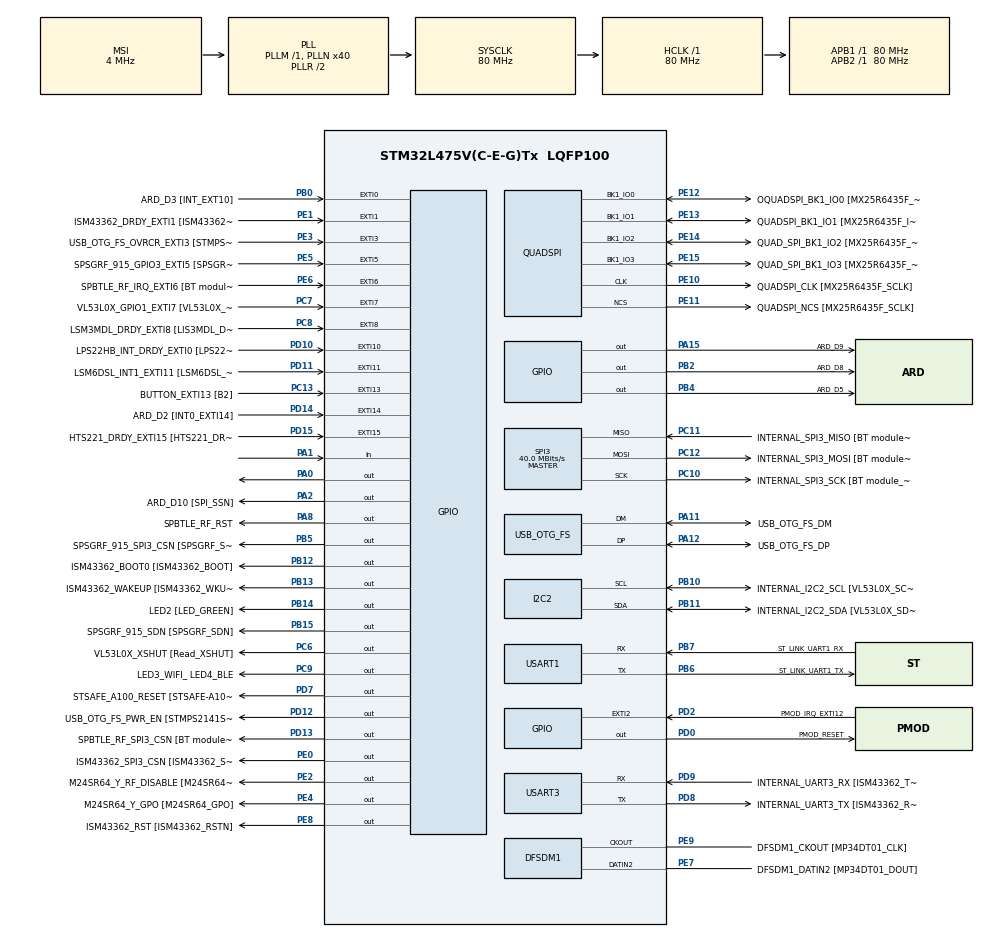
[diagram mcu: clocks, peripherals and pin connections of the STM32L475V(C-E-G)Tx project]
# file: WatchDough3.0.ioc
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Mcu.Family=STM32L4
Mcu.Name=STM32L475V(C-E-G)Tx
Mcu.Package=LQFP100
NVIC.EXTI15_10_IRQn=true\:0\:0\:false\:false\:true\:true\:true
NVIC.EXTI9_5_IRQn=true\:0\:0\:false\:false\:true\:true\:true
NVIC.PriorityGroup=NVIC_PRIORITYGROUP_4
PA0.Signal=GPIO_Output
PA1.Signal=GPIO_Input
PA10.GPIO_Label=USB_OTG_FS_ID
PA10.Signal=USB_OTG_FS_ID
PA11.GPIO_Label=USB_OTG_FS_DM
PA11.Mode=Device_Only
PA11.Signal=USB_OTG_FS_DM
PA12.GPIO_Label=USB_OTG_FS_DP
PA12.Mode=Device_Only
PA12.Signal=USB_OTG_FS_DP
PA13\ (JTMS-SWDIO).GPIO_Label=SYS_JTMS_SWDIO
PA13\ (JTMS-SWDIO).Mode=Serial_Wire
PA13\ (JTMS-SWDIO).Signal=SYS_JTMS-SWDIO
PA14\ (JTCK-SWCLK).GPIO_Label=SYS_JTCK_SWCLK
PA14\ (JTCK-SWCLK).Mode=Serial_Wire
PA14\ (JTCK-SWCLK).Signal=SYS_JTCK-SWCLK
PA15\ (JTDI).GPIO_Label=ARD_D9
PA15\ (JTDI).Signal=GPIO_Output
PA2.GPIO_Label=ARD_D10 [SPI_SSN]
PA2.Signal=GPIO_Output
PA3.GPIO_Label=ARD_D4
PA3.Signal=S_TIM2_CH4
PA4.GPIO_Label=ARD_D7
PA4.Signal=ADCx_IN9
PA5.GPIO_Label=ARD_D13 [SPI1_SCK]
PA5.Signal=SPI1_SCK
PA6.GPIO_Label=ARD_D12 [SPI1_MISO]
PA6.Signal=SPI1_MISO
PA7.GPIO_Label=ARD_D11 [SPI1_MOSI]
PA7.Signal=SPI1_MOSI
PA8.GPIO_Label=SPBTLE_RF_RST
PA8.Signal=GPIO_Output
PA9.GPIO_Label=USB_OTG_FS_VBUS [STMPS2141STR_OUT]
PA9.Signal=USB_OTG_FS_VBUS
PB0.GPIO_Label=ARD_D3 [INT_EXT10]
PB0.Signal=GPXTI0
PB1.GPIO_Label=ARD_D6 [ADC1_IN6]
PB1.Signal=ADCx_IN16
PB10.GPIO_Label=INTERNAL_I2C2_SCL [VL53L0X_SCL]
PB10.Mode=I2C
PB10.Signal=I2C2_SCL
PB11.GPIO_Label=INTERNAL_I2C2_SDA [VL53L0X_SDA]
PB11.Mode=I2C
PB11.Signal=I2C2_SDA
PB12.GPIO_Label=ISM43362_BOOT0 [ISM43362_BOOT]
PB12.Signal=GPIO_Output
PB13.GPIO_Label=ISM43362_WAKEUP [ISM43362_WKUP]
PB13.Signal=GPIO_Output
PB14.GPIO_Label=LED2 [LED_GREEN]
PB14.Signal=GPIO_Output
PB15.GPIO_Label=SPSGRF_915_SDN [SPSGRF_SDN]
PB15.Signal=GPIO_Output
PB2.GPIO_Label=ARD_D8
PB2.Signal=GPIO_Output
PB3\ (JTDO-TRACESWO).GPIO_Label=SYS_JTD0_SWO
PB3\ (JTDO-TRACESWO).Signal=SYS_JTDO-SWO
PB4\ (NJTRST).GPIO_Label=ARD_D5
PB4\ (NJTRST).Signal=GPIO_Output
PB5.GPIO_Label=SPSGRF_915_SPI3_CSN [SPSGRF_SPI_CS]
PB5.PinState=GPIO_PIN_SET
PB5.Signal=GPIO_Output
PB6.GPIO_Label=ST_LINK_UART1_TX
PB6.Mode=Asynchronous
PB6.Signal=USART1_TX
PB7.GPIO_Label=ST_LINK_UART1_RX
PB7.Mode=Asynchronous
PB7.Signal=USART1_RX
PB8.GPIO_Label=ARD_D15 [I2C1_SCL]
PB8.Signal=I2C1_SCL
PB9.GPIO_Label=ARD_D14 [I2C1_SDA]
PB9.Signal=I2C1_SDA
PC0.GPIO_Label=ARD_A5 [ADC]
PC0.Signal=ADCx_IN1
PC1.GPIO_Label=ARD_A4 [ADC]
PC1.Signal=ADCx_IN2
PC10.GPIO_Label=INTERNAL_SPI3_SCK [BT module_SPI_SCLK] [ISM43362_SCK]
PC10.Mode=Full_Duplex_Master
PC10.Signal=SPI3_SCK
PC11.GPIO_Label=INTERNAL_SPI3_MISO [BT module_SPI_MISO] [ISM43362_MISO]
PC11.Mode=Full_Duplex_Master
PC11.Signal=SPI3_MISO
PC12.GPIO_Label=INTERNAL_SPI3_MOSI [BT module_SPI_MOSI] [ISM43362_MOSI]
PC12.Mode=Full_Duplex_Master
PC12.Signal=SPI3_MOSI
PC13.GPIO_Label=BUTTON_EXTI13 [B2]
PC13.GPIO_ModeDefaultEXTI=GPIO_MODE_IT_FALLING
PC13.Signal=GPXTI13
PC14-OSC32_IN\ (PC14).Mode=LSE-External-Oscillator
PC14-OSC32_IN\ (PC14).Signal=RCC_OSC32_IN
PC15-OSC32_OUT\ (PC15).Mode=LSE-External-Oscillator
PC15-OSC32_OUT\ (PC15).Signal=RCC_OSC32_OUT
PC2.GPIO_Label=ARD_A3 [ADC]
PC2.Signal=ADCx_IN3
PC3.GPIO_Label=ARD_A2 [ADC]
PC3.Signal=ADCx_IN4
PC4.GPIO_Label=ARD_A1 [ADC]
PC4.Signal=ADCx_IN13
PC5.GPIO_Label=ARD_A0 [ADC]
PC5.Signal=ADCx_IN14
PC6.GPIO_Label=VL53L0X_XSHUT [Read_XSHUT]
PC6.Signal=GPIO_Output
PC7.GPIO_Label=VL53L0X_GPIO1_EXTI7 [VL53L0X_GPIO1]
PC7.Signal=GPXTI7
PC8.GPIO_Label=LSM3MDL_DRDY_EXTI8 [LIS3MDL_DRDY]
PC8.Signal=GPXTI8
PC9.GPIO_Label=LED3_WIFI_ LED4_BLE
PC9.Signal=GPIO_Output
PD0.GPIO_Label=PMOD_RESET
PD0.Signal=GPIO_Output
PD1.GPIO_Label=PMOD_SPI2_SCK
PD1.Signal=SPI2_SCK
PD10.GPIO_Label=LPS22HB_INT_DRDY_EXTI0 [LPS22HB_INT_DRDY] 
PD10.Signal=GPXTI10
PD11.GPIO_Label=LSM6DSL_INT1_EXTI11 [LSM6DSL_INT1]
PD11.Signal=GPXTI11
PD12.GPIO_Label=USB_OTG_FS_PWR_EN [STMPS2141STR_EN]
PD12.Signal=GPIO_Output
PD13.GPIO_Label=SPBTLE_RF_SPI3_CSN [BT module_SPI_CS]
PD13.PinState=GPIO_PIN_SET
PD13.Signal=GPIO_Output
PD14.GPIO_Label=ARD_D2 [INT0_EXTI14]
PD14.Signal=GPXTI14
PD15.GPIO_Label=HTS221_DRDY_EXTI15 [HTS221_DRDY]
PD15.Signal=GPXTI15
PD2.GPIO_Label=PMOD_IRQ_EXTI12
PD2.Signal=GPXTI2
PD3.GPIO_Label=PMOD_UART2_CTS
PD3.Signal=USART2_CTS
PD4.GPIO_Label=PMOD_UART2_RTS
PD4.Signal=USART2_RTS
PD5.GPIO_Label=PMOD_UART2_TX
PD5.Signal=USART2_TX
PD6.GPIO_Label=PMOD_UART2_RX
PD6.Signal=USART2_RX
PD7.GPIO_Label=STSAFE_A100_RESET [STSAFE-A100_RESET]
PD7.Signal=GPIO_Output
PD8.GPIO_Label=INTERNAL_UART3_TX [ISM43362_RX]
PD8.Mode=Asynchronous
PD8.Signal=USART3_TX
PD9.GPIO_Label=INTERNAL_UART3_RX [ISM43362_TX]
PD9.Mode=Asynchronous
PD9.Signal=USART3_RX
PE0.GPIO_Label=ISM43362_SPI3_CSN [ISM43362_SSN]
PE0.PinState=GPIO_PIN_SET
PE0.Signal=GPIO_Output
PE1.GPIO_Label=ISM43362_DRDY_EXTI1 [ISM43362_DATARDY]
PE1.Signal=GPXTI1
PE10.GPIO_Label=QUADSPI_CLK [MX25R6435F_SCLK]
PE10.Mode=Single Bank
PE10.Signal=QUADSPI_CLK
PE11.GPIO_Label=QUADSPI_NCS [MX25R6435F_SCLK]
PE11.Mode=Single Bank
PE11.Signal=QUADSPI_NCS
PE12.GPIO_Label=OQUADSPI_BK1_IO0 [MX25R6435F_IO0]
PE12.Mode=Single Bank
PE12.Signal=QUADSPI_BK1_IO0
PE13.GPIO_Label=QUADSPI_BK1_IO1 [MX25R6435F_IO1]
PE13.Mode=Single Bank
PE13.Signal=QUADSPI_BK1_IO1
PE14.GPIO_Label=QUAD_SPI_BK1_IO2 [MX25R6435F_IO2]
PE14.Mode=Single Bank
PE14.Signal=QUADSPI_BK1_IO2
PE15.GPIO_Label=QUAD_SPI_BK1_IO3 [MX25R6435F_IO3]
PE15.Mode=Single Bank
PE15.Signal=QUADSPI_BK1_IO3
PE2.GPIO_Label=M24SR64_Y_RF_DISABLE [M24SR64_RFDIS]
PE2.Signal=GPIO_Output
PE3.GPIO_Label=USB_OTG_FS_OVRCR_EXTI3 [STMPS2141STR_FAULT]
PE3.Signal=GPXTI3
PE4.GPIO_Label=M24SR64_Y_GPO [M24SR64_GPO]
PE4.Signal=GPIO_Output
PE5.GPIO_Label=SPSGRF_915_GPIO3_EXTI5 [SPSGRF_GPIO_3]
PE5.Signal=GPXTI5
PE6.GPIO_Label=SPBTLE_RF_IRQ_EXTI6 [BT module_SPI_IRQ]
PE6.Signal=GPXTI6
PE7.GPIO_Label=DFSDM1_DATIN2 [MP34DT01_DOUT]
PE7.Signal=S_DATAIN2DFSDM1
PE8.GPIO_Label=ISM43362_RST [ISM43362_RSTN]
PE8.Signal=GPIO_Output
PE9.GPIO_Label=DFSDM1_CKOUT [MP34DT01_CLK]
PE9.Signal=S_CKOUTDFSDM1
ProjectManager.HeapSize=0x200
ProjectManager.StackSize=0x400
ProjectManager.TargetToolchain=STM32CubeIDE
RCC.ADCFreq_Value=48000000
RCC.AHBFreq_Value=80000000
RCC.APB1Freq_Value=80000000
RCC.APB1TimFreq_Value=80000000
RCC.APB2Freq_Value=80000000
RCC.APB2TimFreq_Value=80000000
RCC.CortexFreq_Value=80000000
RCC.HCLKFreq_Value=80000000
RCC.HSE_VALUE=8000000
RCC.HSI_VALUE=16000000
RCC.MSI_VALUE=4000000
RCC.PLLN=40
RCC.PLLSAI1N=24
RCC.SYSCLKFreq_VALUE=80000000
RCC.SYSCLKSource=RCC_SYSCLKSOURCE_PLLCLK
RCC.USBFreq_Value=48000000
RCC.VCOOutputFreq_Value=160000000
SH.ADCx_IN1.0=ADC1_IN1
SH.ADCx_IN13.0=ADC1_IN13
SH.ADCx_IN14.0=ADC1_IN14
SH.ADCx_IN16.0=ADC1_IN16
SH.ADCx_IN2.0=ADC1_IN2
SH.ADCx_IN3.0=ADC1_IN3
SH.ADCx_IN4.0=ADC1_IN4
SH.ADCx_IN9.0=ADC1_IN9
SH.S_CKOUTDFSDM1.0=DFSDM1_CKOUT,CKOUT
SH.S_CKOUTDFSDM1.1=DFSDM1_CKOUT,PDM_SPI_Input_from_ch12_and_Internal_Clock
SH.S_DATAIN2DFSDM1.0=DFSDM1_DATIN2,PDM_SPI_Input_from_ch12_and_Internal_Clock
SH.S_TIM2_CH4.0=TIM2_CH4
SPI3.CalculateBaudRate=40.0 MBits/s
SPI3.Direction=SPI_DIRECTION_2LINES
SPI3.Mode=SPI_MODE_MASTER
SPI3.VirtualType=VM_MASTER
USART1.VirtualMode-Asynchronous=VM_ASYNC
USART3.VirtualMode-Asynchronous=VM_ASYNC
USB_OTG_FS.VirtualMode=Device_Only
board=B-L475E-IOT01A1

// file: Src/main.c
/* USER CODE BEGIN Header */
/**
  ******************************************************************************
  * @file           : main.c
  * @brief          : Main program body
  ******************************************************************************
  * @attention
  *
  * <h2><center>&copy; Copyright (c) 2020 STMicroelectronics.
  * All rights reserved.</center></h2>
  *
  * This software component is licensed by ST under BSD 3-Clause license,
  * the "License"; You may not use this file except in compliance with the
  * License. You may obtain a copy of the License at:
  *                        opensource.org/licenses/BSD-3-Clause
  *
  ******************************************************************************
  */
/* USER CODE END Header */

#include "main.h"

/* USER CODE BEGIN PD */
#define SSID     					"EOLO - FRITZ!Box 7530 MA"
#define PASSWORD 					"22818903747732893967"
#define WIFI_WRITE_TIMEOUT 			10000
#define WIFI_READ_TIMEOUT  			10000
#define CONNECTION_TRIAL_MAX        10
#define SERIAL_MSG_MAXSIZE			240
#define WIFI_RX_MAXSIZE				140
#define WIFI_TX_MAXSIZE				140
#define MQTT_PAYLOAD_SIZE			30
/* USER CODE END PD */

DFSDM_Channel_HandleTypeDef hdfsdm1_channel1;

I2C_HandleTypeDef hi2c2;

QSPI_HandleTypeDef hqspi;

SPI_HandleTypeDef hspi3;

UART_HandleTypeDef huart1;
UART_HandleTypeDef huart3;

PCD_HandleTypeDef hpcd_USB_OTG_FS;

/* USER CODE BEGIN PV */
uint8_t msgseriale[SERIAL_MSG_MAXSIZE];
uint8_t WiFiRxData[WIFI_RX_MAXSIZE];
uint8_t WiFiTxData[WIFI_TX_MAXSIZE];

extern  SPI_HandleTypeDef hspi;
/* USER CODE END PV */

void SystemClock_Config(void);
static void MX_GPIO_Init(void);
static void MX_DFSDM1_Init(void);
static void MX_I2C2_Init(void);
static void MX_QUADSPI_Init(void);
static void MX_SPI3_Init(void);
static void MX_USART1_UART_Init(void);
static void MX_USART3_UART_Init(void);
static void MX_USB_OTG_FS_PCD_Init(void);

/* USER CODE BEGIN 0 */
void messageArrived(MessageData* data)
{
	/*snprintf((char*)msgseriale,SERIAL_MSG_MAXSIZE, \
			"Message arrived on topic %.*s: %.*s\r\n", data->topicName->lenstring.len, data->topicName->lenstring.data, \
			data->message->payloadlen, (char *) data->message->payload);
	HAL_UART_Transmit(&huart1,msgseriale,strlen((char*)msgseriale),1000);*/
	snprintf((char*)msgseriale,SERIAL_MSG_MAXSIZE, \
				"Message arrived on topic %s: \"%s\"\r\n", data->topicName->lenstring.data, \
				(char *) data->message->payload);
		HAL_UART_Transmit(&huart1,msgseriale,strlen((char*)msgseriale),1000);
}

/* USER CODE END 0 */

int main(void)
{

  /* MCU Configuration--------------------------------------------------------*/

  /* Reset of all peripherals, Initializes the Flash interface and the Systick. */
  HAL_Init();

  /* USER CODE BEGIN Init */
	//BSP_LED_Init(LED2);
	//BSP_LED_Off(LED2);
  /* USER CODE END Init */

  /* Configure the system clock */
  SystemClock_Config();

  /* Initialize all configured peripherals */
  MX_GPIO_Init();
  MX_DFSDM1_Init();
  MX_I2C2_Init();
  MX_QUADSPI_Init();
  MX_SPI3_Init();
  MX_USART1_UART_Init();
  MX_USART3_UART_Init();
  MX_USB_OTG_FS_PCD_Init();
  /* USER CODE BEGIN 2 */

	// Variabili
	uint8_t  MAC_Addr[6];
	//uint8_t localmosquittoip[] = {192,168,0,6};
	const char myaddress[] = "test.mosquitto.org";
	uint16_t myport = 1883; //prima era 1883
	//uint16_t myportlocalmosquitto = 18830;
	const char pubtopic[] = "watchdough/temp";
	const char pubtopic2[] = "watchdough/hum";
	const char subtopic[] = "watchdough/#";
	char payload[MQTT_PAYLOAD_SIZE];

	uint16_t nmsg = 0;
	int rc = 0;
	uint8_t connTrials = 10;

	snprintf((char*)msgseriale,SERIAL_MSG_MAXSIZE,"\r\n> Inizio Programma\r\n");
	HAL_UART_Transmit(&huart1,msgseriale,strlen((char*)msgseriale),1000);

	Network network;
	NetworkInit(&network);

	//Network and MQTT Initialization
	if(WIFI_Init() ==  WIFI_STATUS_OK)
		{
			snprintf((char*)msgseriale,SERIAL_MSG_MAXSIZE,"> WIFI Module Initialized.\r\n");
			HAL_UART_Transmit(&huart1,msgseriale,strlen((char*)msgseriale),1000);
			if(WIFI_GetMAC_Address(MAC_Addr) == WIFI_STATUS_OK)
			{
				snprintf((char*)msgseriale,SERIAL_MSG_MAXSIZE,"> es-wifi module MAC Address : %X:%X:%X:%X:%X:%X\r\r\n",
				MAC_Addr[0],MAC_Addr[1],MAC_Addr[2],MAC_Addr[3],MAC_Addr[4],MAC_Addr[5]);
				HAL_UART_Transmit(&huart1,msgseriale,strlen((char*)msgseriale),1000);
			}
			else
			{
				snprintf((char*)msgseriale,SERIAL_MSG_MAXSIZE,"> ERROR : CANNOT get MAC address\r\r\n");
				HAL_UART_Transmit(&huart1,msgseriale,strlen((char*)msgseriale),1000);
			}
		}
		else
		{
			snprintf((char*)msgseriale,SERIAL_MSG_MAXSIZE,"> ERROR : WIFI Module cannot be initialized.\r\n");
			HAL_UART_Transmit(&huart1,msgseriale,strlen((char*)msgseriale),1000);
		}

		WIFI_Status_t retwifi = ClientJoinWiFiNetwork(SSID, PASSWORD);
		if(retwifi!=WIFI_STATUS_OK)
		{
			snprintf((char*)msgseriale,SERIAL_MSG_MAXSIZE,"> retwifi=%x.\r\n",retwifi);
			HAL_UART_Transmit(&huart1,msgseriale,strlen((char*)msgseriale),1000);
		}
		else
		{
			snprintf((char*)msgseriale,SERIAL_MSG_MAXSIZE,"> WIFI Module Initialized.\r\n");
			HAL_UART_Transmit(&huart1,msgseriale,strlen((char*)msgseriale),1000);
		}

		while (connTrials--)
		{
			WIFI_Status_t retcon = ClientConnectNViaDNS(&network, myaddress, myport);
			//WIFI_Status_t retcon = ClientConnectToIP(&network, localmosquittoip, myportlocalmosquitto);
			if(retcon!=WIFI_STATUS_OK)
			{
				snprintf((char*)msgseriale,SERIAL_MSG_MAXSIZE,"> retcon=%x.\r\n",retcon);
				HAL_UART_Transmit(&huart1,msgseriale,strlen((char*)msgseriale),1000);
			}
			else
			{
				snprintf((char*)msgseriale,SERIAL_MSG_MAXSIZE,"> Connected to broker TCP port\r\n");
				HAL_UART_Transmit(&huart1,msgseriale,strlen((char*)msgseriale),1000);
				break;
			}
			HAL_Delay(2000);
		}

		MQTTClient client;
		MQTTClientInit(&client, &network, WIFI_WRITE_TIMEOUT, WiFiTxData, WIFI_TX_MAXSIZE, WiFiRxData, WIFI_TX_MAXSIZE);

		MQTTConnackData connackdata;
		MQTTSubackData subData;

		MQTTPacket_connectData connectData = MQTTPacket_connectData_initializer;
		connectData.MQTTVersion = 3;
		connectData.clientID.cstring = "LEIOT_MQTT_client_gm";
		connectData.willFlag = 0;
		connectData.keepAliveInterval = 10;
		connectData.cleansession = 1;

		if ((rc = MQTTConnectWithResults(&client, &connectData, &connackdata)) != 0)
		{
			snprintf((char*)msgseriale,SERIAL_MSG_MAXSIZE,"Error in connection: return code is %d\r\n", rc);
			HAL_UART_Transmit(&huart1,msgseriale,strlen((char*)msgseriale),1000);
		}
		else
		{
			snprintf((char*)msgseriale,SERIAL_MSG_MAXSIZE,"MQTT Connected\r\n");
			HAL_UART_Transmit(&huart1,msgseriale,strlen((char*)msgseriale),1000);
		}

		if((rc = MQTTSubscribeWithResults(&client, subtopic, 2, messageArrived, &subData)) != 0)
		{
			snprintf((char*)msgseriale,SERIAL_MSG_MAXSIZE,"Error in subscription: return code is %d\r\n", rc);
			HAL_UART_Transmit(&huart1,msgseriale,strlen((char*)msgseriale),1000);
		}
		else
		{
			snprintf((char*)msgseriale,SERIAL_MSG_MAXSIZE,"MQTT topic %s subscribed\r\n",subtopic);
			HAL_UART_Transmit(&huart1,msgseriale,strlen((char*)msgseriale),1000);
		}

  /* USER CODE END 2 */

  /* Infinite loop */
	while (1)
	{

    /* USER CODE BEGIN 3 */

		/* USER CODE END WHILE */
				/* USER CODE BEGIN 3 */

			MQTTMessage message;
			message.qos = 1;
			message.retained = 0;
			message.payload = payload;
			sprintf(payload, "message number %d", ++nmsg);
			message.payloadlen = strlen(payload);
			snprintf((char*)msgseriale,SERIAL_MSG_MAXSIZE,"Publishing message \"%s\"\r\n", payload);
			HAL_UART_Transmit(&huart1,msgseriale,strlen((char*)msgseriale),1000);
			rc = MQTTPublish(&client, pubtopic, &message);
			snprintf((char*)msgseriale,SERIAL_MSG_MAXSIZE,"Return code from MQTT publish is %d\r\n", rc);
			HAL_UART_Transmit(&huart1,msgseriale,strlen((char*)msgseriale),1000);
			HAL_Delay(6000);
		/*if (payload == "test")
		{
				HAL_GPIO_TogglePin(GPIOB,GPIO_PIN_2);
		}*/
		 //HAL_GPIO_TogglePin(GPIOB,GPIO_PIN_2);
		//HAL_Delay(1000);

	}
  /* USER CODE END 3 */
}

void SystemClock_Config(void)
{
  RCC_OscInitTypeDef RCC_OscInitStruct = {0};
  RCC_ClkInitTypeDef RCC_ClkInitStruct = {0};
  RCC_PeriphCLKInitTypeDef PeriphClkInit = {0};

  /** Configure LSE Drive Capability
  */
  HAL_PWR_EnableBkUpAccess();
  __HAL_RCC_LSEDRIVE_CONFIG(RCC_LSEDRIVE_LOW);
  /** Initializes the CPU, AHB and APB busses clocks
  */
  RCC_OscInitStruct.OscillatorType = RCC_OSCILLATORTYPE_LSE|RCC_OSCILLATORTYPE_MSI;
  RCC_OscInitStruct.LSEState = RCC_LSE_ON;
  RCC_OscInitStruct.MSIState = RCC_MSI_ON;
  RCC_OscInitStruct.MSICalibrationValue = 0;
  RCC_OscInitStruct.MSIClockRange = RCC_MSIRANGE_6;
  RCC_OscInitStruct.PLL.PLLState = RCC_PLL_ON;
  RCC_OscInitStruct.PLL.PLLSource = RCC_PLLSOURCE_MSI;
  RCC_OscInitStruct.PLL.PLLM = 1;
  RCC_OscInitStruct.PLL.PLLN = 40;
  RCC_OscInitStruct.PLL.PLLP = RCC_PLLP_DIV7;
  RCC_OscInitStruct.PLL.PLLQ = RCC_PLLQ_DIV2;
  RCC_OscInitStruct.PLL.PLLR = RCC_PLLR_DIV2;
  if (HAL_RCC_OscConfig(&RCC_OscInitStruct) != HAL_OK)
  {
    Error_Handler();
  }
  /** Initializes the CPU, AHB and APB busses clocks
  */
  RCC_ClkInitStruct.ClockType = RCC_CLOCKTYPE_HCLK|RCC_CLOCKTYPE_SYSCLK
                              |RCC_CLOCKTYPE_PCLK1|RCC_CLOCKTYPE_PCLK2;
  RCC_ClkInitStruct.SYSCLKSource = RCC_SYSCLKSOURCE_PLLCLK;
  RCC_ClkInitStruct.AHBCLKDivider = RCC_SYSCLK_DIV1;
  RCC_ClkInitStruct.APB1CLKDivider = RCC_HCLK_DIV1;
  RCC_ClkInitStruct.APB2CLKDivider = RCC_HCLK_DIV1;

  if (HAL_RCC_ClockConfig(&RCC_ClkInitStruct, FLASH_LATENCY_4) != HAL_OK)
  {
    Error_Handler();
  }
  PeriphClkInit.PeriphClockSelection = RCC_PERIPHCLK_USART1|RCC_PERIPHCLK_USART3
                              |RCC_PERIPHCLK_I2C2|RCC_PERIPHCLK_DFSDM1
                              |RCC_PERIPHCLK_USB;
  PeriphClkInit.Usart1ClockSelection = RCC_USART1CLKSOURCE_PCLK2;
  PeriphClkInit.Usart3ClockSelection = RCC_USART3CLKSOURCE_PCLK1;
  PeriphClkInit.I2c2ClockSelection = RCC_I2C2CLKSOURCE_PCLK1;
  PeriphClkInit.Dfsdm1ClockSelection = RCC_DFSDM1CLKSOURCE_PCLK;
  PeriphClkInit.UsbClockSelection = RCC_USBCLKSOURCE_PLLSAI1;
  PeriphClkInit.PLLSAI1.PLLSAI1Source = RCC_PLLSOURCE_MSI;
  PeriphClkInit.PLLSAI1.PLLSAI1M = 1;
  PeriphClkInit.PLLSAI1.PLLSAI1N = 24;
  PeriphClkInit.PLLSAI1.PLLSAI1P = RCC_PLLP_DIV7;
  PeriphClkInit.PLLSAI1.PLLSAI1Q = RCC_PLLQ_DIV2;
  PeriphClkInit.PLLSAI1.PLLSAI1R = RCC_PLLR_DIV2;
  PeriphClkInit.PLLSAI1.PLLSAI1ClockOut = RCC_PLLSAI1_48M2CLK;
  if (HAL_RCCEx_PeriphCLKConfig(&PeriphClkInit) != HAL_OK)
  {
    Error_Handler();
  }
  /** Configure the main internal regulator output voltage
  */
  if (HAL_PWREx_ControlVoltageScaling(PWR_REGULATOR_VOLTAGE_SCALE1) != HAL_OK)
  {
    Error_Handler();
  }
  /** Enable MSI Auto calibration
  */
  HAL_RCCEx_EnableMSIPLLMode();
}

static void MX_DFSDM1_Init(void)
{

  hdfsdm1_channel1.Instance = DFSDM1_Channel1;
  hdfsdm1_channel1.Init.OutputClock.Activation = ENABLE;
  hdfsdm1_channel1.Init.OutputClock.Selection = DFSDM_CHANNEL_OUTPUT_CLOCK_SYSTEM;
  hdfsdm1_channel1.Init.OutputClock.Divider = 2;
  hdfsdm1_channel1.Init.Input.Multiplexer = DFSDM_CHANNEL_EXTERNAL_INPUTS;
  hdfsdm1_channel1.Init.Input.DataPacking = DFSDM_CHANNEL_STANDARD_MODE;
  hdfsdm1_channel1.Init.Input.Pins = DFSDM_CHANNEL_FOLLOWING_CHANNEL_PINS;
  hdfsdm1_channel1.Init.SerialInterface.Type = DFSDM_CHANNEL_SPI_RISING;
  hdfsdm1_channel1.Init.SerialInterface.SpiClock = DFSDM_CHANNEL_SPI_CLOCK_INTERNAL;
  hdfsdm1_channel1.Init.Awd.FilterOrder = DFSDM_CHANNEL_FASTSINC_ORDER;
  hdfsdm1_channel1.Init.Awd.Oversampling = 1;
  hdfsdm1_channel1.Init.Offset = 0;
  hdfsdm1_channel1.Init.RightBitShift = 0x00;
  if (HAL_DFSDM_ChannelInit(&hdfsdm1_channel1) != HAL_OK)
  {
    Error_Handler();
  }

}

static void MX_I2C2_Init(void)
{

  hi2c2.Instance = I2C2;
  hi2c2.Init.Timing = 0x00000E14;
  hi2c2.Init.OwnAddress1 = 0;
  hi2c2.Init.AddressingMode = I2C_ADDRESSINGMODE_7BIT;
  hi2c2.Init.DualAddressMode = I2C_DUALADDRESS_DISABLE;
  hi2c2.Init.OwnAddress2 = 0;
  hi2c2.Init.OwnAddress2Masks = I2C_OA2_NOMASK;
  hi2c2.Init.GeneralCallMode = I2C_GENERALCALL_DISABLE;
  hi2c2.Init.NoStretchMode = I2C_NOSTRETCH_DISABLE;
  if (HAL_I2C_Init(&hi2c2) != HAL_OK)
  {
    Error_Handler();
  }
  /** Configure Analogue filter
  */
  if (HAL_I2CEx_ConfigAnalogFilter(&hi2c2, I2C_ANALOGFILTER_ENABLE) != HAL_OK)
  {
    Error_Handler();
  }
  /** Configure Digital filter
  */
  if (HAL_I2CEx_ConfigDigitalFilter(&hi2c2, 0) != HAL_OK)
  {
    Error_Handler();
  }

}

static void MX_QUADSPI_Init(void)
{

  /* QUADSPI parameter configuration*/
  hqspi.Instance = QUADSPI;
  hqspi.Init.ClockPrescaler = 255;
  hqspi.Init.FifoThreshold = 1;
  hqspi.Init.SampleShifting = QSPI_SAMPLE_SHIFTING_NONE;
  hqspi.Init.FlashSize = 1;
  hqspi.Init.ChipSelectHighTime = QSPI_CS_HIGH_TIME_1_CYCLE;
  hqspi.Init.ClockMode = QSPI_CLOCK_MODE_0;
  if (HAL_QSPI_Init(&hqspi) != HAL_OK)
  {
    Error_Handler();
  }

}

static void MX_SPI3_Init(void)
{

  /* SPI3 parameter configuration*/
  hspi3.Instance = SPI3;
  hspi3.Init.Mode = SPI_MODE_MASTER;
  hspi3.Init.Direction = SPI_DIRECTION_2LINES;
  hspi3.Init.DataSize = SPI_DATASIZE_4BIT;
  hspi3.Init.CLKPolarity = SPI_POLARITY_LOW;
  hspi3.Init.CLKPhase = SPI_PHASE_1EDGE;
  hspi3.Init.NSS = SPI_NSS_SOFT;
  hspi3.Init.BaudRatePrescaler = SPI_BAUDRATEPRESCALER_2;
  hspi3.Init.FirstBit = SPI_FIRSTBIT_MSB;
  hspi3.Init.TIMode = SPI_TIMODE_DISABLE;
  hspi3.Init.CRCCalculation = SPI_CRCCALCULATION_DISABLE;
  hspi3.Init.CRCPolynomial = 7;
  hspi3.Init.CRCLength = SPI_CRC_LENGTH_DATASIZE;
  hspi3.Init.NSSPMode = SPI_NSS_PULSE_ENABLE;
  if (HAL_SPI_Init(&hspi3) != HAL_OK)
  {
    Error_Handler();
  }

}

static void MX_USART1_UART_Init(void)
{

  huart1.Instance = USART1;
  huart1.Init.BaudRate = 115200;
  huart1.Init.WordLength = UART_WORDLENGTH_8B;
  huart1.Init.StopBits = UART_STOPBITS_1;
  huart1.Init.Parity = UART_PARITY_NONE;
  huart1.Init.Mode = UART_MODE_TX_RX;
  huart1.Init.HwFlowCtl = UART_HWCONTROL_NONE;
  huart1.Init.OverSampling = UART_OVERSAMPLING_16;
  huart1.Init.OneBitSampling = UART_ONE_BIT_SAMPLE_DISABLE;
  huart1.AdvancedInit.AdvFeatureInit = UART_ADVFEATURE_NO_INIT;
  if (HAL_UART_Init(&huart1) != HAL_OK)
  {
    Error_Handler();
  }

}

static void MX_USART3_UART_Init(void)
{

  huart3.Instance = USART3;
  huart3.Init.BaudRate = 115200;
  huart3.Init.WordLength = UART_WORDLENGTH_8B;
  huart3.Init.StopBits = UART_STOPBITS_1;
  huart3.Init.Parity = UART_PARITY_NONE;
  huart3.Init.Mode = UART_MODE_TX_RX;
  huart3.Init.HwFlowCtl = UART_HWCONTROL_NONE;
  huart3.Init.OverSampling = UART_OVERSAMPLING_16;
  huart3.Init.OneBitSampling = UART_ONE_BIT_SAMPLE_DISABLE;
  huart3.AdvancedInit.AdvFeatureInit = UART_ADVFEATURE_NO_INIT;
  if (HAL_UART_Init(&huart3) != HAL_OK)
  {
    Error_Handler();
  }

}

static void MX_USB_OTG_FS_PCD_Init(void)
{

  hpcd_USB_OTG_FS.Instance = USB_OTG_FS;
  hpcd_USB_OTG_FS.Init.dev_endpoints = 6;
  hpcd_USB_OTG_FS.Init.speed = PCD_SPEED_FULL;
  hpcd_USB_OTG_FS.Init.phy_itface = PCD_PHY_EMBEDDED;
  hpcd_USB_OTG_FS.Init.Sof_enable = DISABLE;
  hpcd_USB_OTG_FS.Init.low_power_enable = DISABLE;
  hpcd_USB_OTG_FS.Init.lpm_enable = DISABLE;
  hpcd_USB_OTG_FS.Init.battery_charging_enable = DISABLE;
  hpcd_USB_OTG_FS.Init.use_dedicated_ep1 = DISABLE;
  hpcd_USB_OTG_FS.Init.vbus_sensing_enable = DISABLE;
  if (HAL_PCD_Init(&hpcd_USB_OTG_FS) != HAL_OK)
  {
    Error_Handler();
  }

}

static void MX_GPIO_Init(void)
{
  GPIO_InitTypeDef GPIO_InitStruct = {0};

  /* GPIO Ports Clock Enable */
  __HAL_RCC_GPIOE_CLK_ENABLE();
  __HAL_RCC_GPIOC_CLK_ENABLE();
  __HAL_RCC_GPIOA_CLK_ENABLE();
  __HAL_RCC_GPIOB_CLK_ENABLE();
  __HAL_RCC_GPIOD_CLK_ENABLE();

  /*Configure GPIO pin Output Level */
  HAL_GPIO_WritePin(GPIOE, M24SR64_Y_RF_DISABLE_Pin|M24SR64_Y_GPO_Pin|ISM43362_RST_Pin, GPIO_PIN_RESET);

  /*Configure GPIO pin Output Level */
  HAL_GPIO_WritePin(GPIOA, GPIO_PIN_0|ARD_D10_Pin|SPBTLE_RF_RST_Pin|ARD_D9_Pin, GPIO_PIN_RESET);

  /*Configure GPIO pin Output Level */
  HAL_GPIO_WritePin(GPIOB, ARD_D8_Pin|ISM43362_BOOT0_Pin|ISM43362_WAKEUP_Pin|LED2_Pin
                          |SPSGRF_915_SDN_Pin|ARD_D5_Pin, GPIO_PIN_RESET);

  /*Configure GPIO pin Output Level */
  HAL_GPIO_WritePin(GPIOD, USB_OTG_FS_PWR_EN_Pin|PMOD_RESET_Pin|STSAFE_A100_RESET_Pin, GPIO_PIN_RESET);

  /*Configure GPIO pin Output Level */
  HAL_GPIO_WritePin(SPBTLE_RF_SPI3_CSN_GPIO_Port, SPBTLE_RF_SPI3_CSN_Pin, GPIO_PIN_SET);

  /*Configure GPIO pin Output Level */
  HAL_GPIO_WritePin(GPIOC, VL53L0X_XSHUT_Pin|LED3_WIFI__LED4_BLE_Pin, GPIO_PIN_RESET);

  /*Configure GPIO pin Output Level */
  HAL_GPIO_WritePin(SPSGRF_915_SPI3_CSN_GPIO_Port, SPSGRF_915_SPI3_CSN_Pin, GPIO_PIN_SET);

  /*Configure GPIO pin Output Level */
  HAL_GPIO_WritePin(ISM43362_SPI3_CSN_GPIO_Port, ISM43362_SPI3_CSN_Pin, GPIO_PIN_SET);

  /*Configure GPIO pins : M24SR64_Y_RF_DISABLE_Pin M24SR64_Y_GPO_Pin ISM43362_RST_Pin ISM43362_SPI3_CSN_Pin */
  GPIO_InitStruct.Pin = M24SR64_Y_RF_DISABLE_Pin|M24SR64_Y_GPO_Pin|ISM43362_RST_Pin|ISM43362_SPI3_CSN_Pin;
  GPIO_InitStruct.Mode = GPIO_MODE_OUTPUT_PP;
  GPIO_InitStruct.Pull = GPIO_NOPULL;
  GPIO_InitStruct.Speed = GPIO_SPEED_FREQ_LOW;
  HAL_GPIO_Init(GPIOE, &GPIO_InitStruct);

  /*Configure GPIO pins : USB_OTG_FS_OVRCR_EXTI3_Pin SPSGRF_915_GPIO3_EXTI5_Pin SPBTLE_RF_IRQ_EXTI6_Pin ISM43362_DRDY_EXTI1_Pin */
  GPIO_InitStruct.Pin = USB_OTG_FS_OVRCR_EXTI3_Pin|SPSGRF_915_GPIO3_EXTI5_Pin|SPBTLE_RF_IRQ_EXTI6_Pin|ISM43362_DRDY_EXTI1_Pin;
  GPIO_InitStruct.Mode = GPIO_MODE_IT_RISING;
  GPIO_InitStruct.Pull = GPIO_NOPULL;
  HAL_GPIO_Init(GPIOE, &GPIO_InitStruct);

  /*Configure GPIO pin : BUTTON_EXTI13_Pin */
  GPIO_InitStruct.Pin = BUTTON_EXTI13_Pin;
  GPIO_InitStruct.Mode = GPIO_MODE_IT_FALLING;
  GPIO_InitStruct.Pull = GPIO_NOPULL;
  HAL_GPIO_Init(BUTTON_EXTI13_GPIO_Port, &GPIO_InitStruct);

  /*Configure GPIO pins : ARD_A5_Pin ARD_A4_Pin ARD_A3_Pin ARD_A2_Pin
                           ARD_A1_Pin ARD_A0_Pin */
  GPIO_InitStruct.Pin = ARD_A5_Pin|ARD_A4_Pin|ARD_A3_Pin|ARD_A2_Pin
                          |ARD_A1_Pin|ARD_A0_Pin;
  GPIO_InitStruct.Mode = GPIO_MODE_ANALOG_ADC_CONTROL;
  GPIO_InitStruct.Pull = GPIO_NOPULL;
  HAL_GPIO_Init(GPIOC, &GPIO_InitStruct);

  /*Configure GPIO pins : PA0 ARD_D10_Pin SPBTLE_RF_RST_Pin ARD_D9_Pin */
  GPIO_InitStruct.Pin = GPIO_PIN_0|ARD_D10_Pin|SPBTLE_RF_RST_Pin|ARD_D9_Pin;
  GPIO_InitStruct.Mode = GPIO_MODE_OUTPUT_PP;
  GPIO_InitStruct.Pull = GPIO_NOPULL;
  GPIO_InitStruct.Speed = GPIO_SPEED_FREQ_LOW;
  HAL_GPIO_Init(GPIOA, &GPIO_InitStruct);

  /*Configure GPIO pin : PA1 */
  GPIO_InitStruct.Pin = GPIO_PIN_1;
  GPIO_InitStruct.Mode = GPIO_MODE_INPUT;
  GPIO_InitStruct.Pull = GPIO_NOPULL;
  HAL_GPIO_Init(GPIOA, &GPIO_InitStruct);

  /*Configure GPIO pin : ARD_D4_Pin */
  GPIO_InitStruct.Pin = ARD_D4_Pin;
  GPIO_InitStruct.Mode = GPIO_MODE_AF_PP;
  GPIO_InitStruct.Pull = GPIO_NOPULL;
  GPIO_InitStruct.Speed = GPIO_SPEED_FREQ_LOW;
  GPIO_InitStruct.Alternate = GPIO_AF1_TIM2;
  HAL_GPIO_Init(ARD_D4_GPIO_Port, &GPIO_InitStruct);

  /*Configure GPIO pin : ARD_D7_Pin */
  GPIO_InitStruct.Pin = ARD_D7_Pin;
  GPIO_InitStruct.Mode = GPIO_MODE_ANALOG_ADC_CONTROL;
  GPIO_InitStruct.Pull = GPIO_NOPULL;
  HAL_GPIO_Init(ARD_D7_GPIO_Port, &GPIO_InitStruct);

  /*Configure GPIO pins : ARD_D13_Pin ARD_D12_Pin ARD_D11_Pin */
  GPIO_InitStruct.Pin = ARD_D13_Pin|ARD_D12_Pin|ARD_D11_Pin;
  GPIO_InitStruct.Mode = GPIO_MODE_AF_PP;
  GPIO_InitStruct.Pull = GPIO_NOPULL;
  GPIO_InitStruct.Speed = GPIO_SPEED_FREQ_VERY_HIGH;
  GPIO_InitStruct.Alternate = GPIO_AF5_SPI1;
  HAL_GPIO_Init(GPIOA, &GPIO_InitStruct);

  /*Configure GPIO pin : ARD_D3_Pin */
  GPIO_InitStruct.Pin = ARD_D3_Pin;
  GPIO_InitStruct.Mode = GPIO_MODE_IT_RISING;
  GPIO_InitStruct.Pull = GPIO_NOPULL;
  HAL_GPIO_Init(ARD_D3_GPIO_Port, &GPIO_InitStruct);

  /*Configure GPIO pin : ARD_D6_Pin */
  GPIO_InitStruct.Pin = ARD_D6_Pin;
  GPIO_InitStruct.Mode = GPIO_MODE_ANALOG_ADC_CONTROL;
  GPIO_InitStruct.Pull = GPIO_NOPULL;
  HAL_GPIO_Init(ARD_D6_GPIO_Port, &GPIO_InitStruct);

  /*Configure GPIO pins : ARD_D8_Pin ISM43362_BOOT0_Pin ISM43362_WAKEUP_Pin LED2_Pin
                           SPSGRF_915_SDN_Pin ARD_D5_Pin SPSGRF_915_SPI3_CSN_Pin */
  GPIO_InitStruct.Pin = ARD_D8_Pin|ISM43362_BOOT0_Pin|ISM43362_WAKEUP_Pin|LED2_Pin
                          |SPSGRF_915_SDN_Pin|ARD_D5_Pin|SPSGRF_915_SPI3_CSN_Pin;
  GPIO_InitStruct.Mode = GPIO_MODE_OUTPUT_PP;
  GPIO_InitStruct.Pull = GPIO_NOPULL;
  GPIO_InitStruct.Speed = GPIO_SPEED_FREQ_LOW;
  HAL_GPIO_Init(GPIOB, &GPIO_InitStruct);

  /*Configure GPIO pins : LPS22HB_INT_DRDY_EXTI0_Pin LSM6DSL_INT1_EXTI11_Pin ARD_D2_Pin HTS221_DRDY_EXTI15_Pin
                           PMOD_IRQ_EXTI12_Pin */
  GPIO_InitStruct.Pin = LPS22HB_INT_DRDY_EXTI0_Pin|LSM6DSL_INT1_EXTI11_Pin|ARD_D2_Pin|HTS221_DRDY_EXTI15_Pin
                          |PMOD_IRQ_EXTI12_Pin;
  GPIO_InitStruct.Mode = GPIO_MODE_IT_RISING;
  GPIO_InitStruct.Pull = GPIO_NOPULL;
  HAL_GPIO_Init(GPIOD, &GPIO_InitStruct);

  /*Configure GPIO pins : USB_OTG_FS_PWR_EN_Pin SPBTLE_RF_SPI3_CSN_Pin PMOD_RESET_Pin STSAFE_A100_RESET_Pin */
  GPIO_InitStruct.Pin = USB_OTG_FS_PWR_EN_Pin|SPBTLE_RF_SPI3_CSN_Pin|PMOD_RESET_Pin|STSAFE_A100_RESET_Pin;
  GPIO_InitStruct.Mode = GPIO_MODE_OUTPUT_PP;
  GPIO_InitStruct.Pull = GPIO_NOPULL;
  GPIO_InitStruct.Speed = GPIO_SPEED_FREQ_LOW;
  HAL_GPIO_Init(GPIOD, &GPIO_InitStruct);

  /*Configure GPIO pins : VL53L0X_XSHUT_Pin LED3_WIFI__LED4_BLE_Pin */
  GPIO_InitStruct.Pin = VL53L0X_XSHUT_Pin|LED3_WIFI__LED4_BLE_Pin;
  GPIO_InitStruct.Mode = GPIO_MODE_OUTPUT_PP;
  GPIO_InitStruct.Pull = GPIO_NOPULL;
  GPIO_InitStruct.Speed = GPIO_SPEED_FREQ_LOW;
  HAL_GPIO_Init(GPIOC, &GPIO_InitStruct);

  /*Configure GPIO pins : VL53L0X_GPIO1_EXTI7_Pin LSM3MDL_DRDY_EXTI8_Pin */
  GPIO_InitStruct.Pin = VL53L0X_GPIO1_EXTI7_Pin|LSM3MDL_DRDY_EXTI8_Pin;
  GPIO_InitStruct.Mode = GPIO_MODE_IT_RISING;
  GPIO_InitStruct.Pull = GPIO_NOPULL;
  HAL_GPIO_Init(GPIOC, &GPIO_InitStruct);

  /*Configure GPIO pin : PMOD_SPI2_SCK_Pin */
  GPIO_InitStruct.Pin = PMOD_SPI2_SCK_Pin;
  GPIO_InitStruct.Mode = GPIO_MODE_AF_PP;
  GPIO_InitStruct.Pull = GPIO_NOPULL;
  GPIO_InitStruct.Speed = GPIO_SPEED_FREQ_VERY_HIGH;
  GPIO_InitStruct.Alternate = GPIO_AF5_SPI2;
  HAL_GPIO_Init(PMOD_SPI2_SCK_GPIO_Port, &GPIO_InitStruct);

  /*Configure GPIO pins : PMOD_UART2_CTS_Pin PMOD_UART2_RTS_Pin PMOD_UART2_TX_Pin PMOD_UART2_RX_Pin */
  GPIO_InitStruct.Pin = PMOD_UART2_CTS_Pin|PMOD_UART2_RTS_Pin|PMOD_UART2_TX_Pin|PMOD_UART2_RX_Pin;
  GPIO_InitStruct.Mode = GPIO_MODE_AF_PP;
  GPIO_InitStruct.Pull = GPIO_NOPULL;
  GPIO_InitStruct.Speed = GPIO_SPEED_FREQ_VERY_HIGH;
  GPIO_InitStruct.Alternate = GPIO_AF7_USART2;
  HAL_GPIO_Init(GPIOD, &GPIO_InitStruct);

  /*Configure GPIO pins : ARD_D15_Pin ARD_D14_Pin */
  GPIO_InitStruct.Pin = ARD_D15_Pin|ARD_D14_Pin;
  GPIO_InitStruct.Mode = GPIO_MODE_AF_OD;
  GPIO_InitStruct.Pull = GPIO_PULLUP;
  GPIO_InitStruct.Speed = GPIO_SPEED_FREQ_VERY_HIGH;
  GPIO_InitStruct.Alternate = GPIO_AF4_I2C1;
  HAL_GPIO_Init(GPIOB, &GPIO_InitStruct);

  /* EXTI interrupt init*/
  HAL_NVIC_SetPriority(EXTI9_5_IRQn, 0, 0);
  HAL_NVIC_EnableIRQ(EXTI9_5_IRQn);

  HAL_NVIC_SetPriority(EXTI15_10_IRQn, 0, 0);
  HAL_NVIC_EnableIRQ(EXTI15_10_IRQn);

}

/* USER CODE BEGIN 4 */
/**
  * @brief  EXTI line detection callback.
  * @param  GPIO_Pin: Specifies the port pin connected to corresponding EXTI line.
  * @retval None
  */
void HAL_GPIO_EXTI_Callback(uint16_t GPIO_Pin)
{
	switch (GPIO_Pin)
	{
		case (GPIO_PIN_1):
		{
			SPI_WIFI_ISR();
			break;
		}
		default:
		{
			break;
		}
	}
}

void SPI3_IRQHandler(void)
{
	HAL_SPI_IRQHandler(&hspi);
}
/* USER CODE END 4 */

void Error_Handler(void)
{
}

/************************ (C) COPYRIGHT STMicroelectronics *****END OF FILE****/
